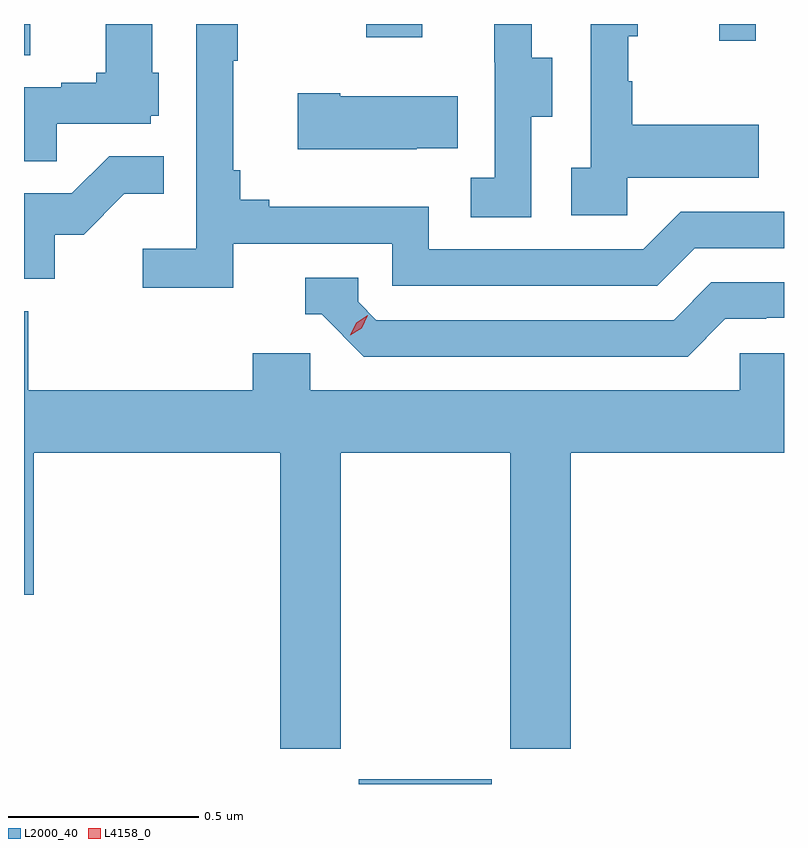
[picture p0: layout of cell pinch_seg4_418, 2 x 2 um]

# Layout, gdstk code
import gdstk
lib = gdstk.Library(unit=1e-6, precision=1e-09)
def R(c, l, rs):  # rectangles x0, y0, x1, y1
    for r in rs: c.add(gdstk.rectangle(r[:2], r[2:], *l))
def P(c, l, *ps):  # polygons
    for p in ps: c.add(gdstk.Polygon(p, *l))
L2000_40 = (2000, 40)
L4158_0 = (4158, 0)

pinch_seg4_418 = lib.new_cell('pinch_seg4_418')
R(pinch_seg4_418, L2000_40, [(969.224,774.636,969.574,774.649), (968.343,776.554,968.359,776.636), (970.172,776.592,970.269,776.636), (969.244,776.601,969.391,776.636)])
P(pinch_seg4_418, L2000_40, [(969.678,776.392),(969.733,776.392),(969.733,776.547),(969.679,776.547),(969.679,776.636),(969.581,776.636),(969.581,776.535),(969.582,776.535),(969.582,776.231),(969.519,776.231),(969.519,776.128),(969.678,776.128)],
  [(968.894,776.058),(969.312,776.058),(969.312,775.947),(970.009,775.947),(970.108,776.046),(970.343,776.046),(970.343,776.142),(970.071,776.142),(969.972,776.043),(969.408,776.043),(969.408,776.155),(968.989,776.155),(968.989,776.174),(968.912,776.174),(968.912,776.251),(968.893,776.251),(968.893,776.539),(968.905,776.539),(968.905,776.636),(968.796,776.636),(968.796,776.044),(968.655,776.044),(968.655,775.942),(968.894,775.942)],
  [(969.93,776.231),(970.277,776.231),(970.277,776.371),(969.943,776.371),(969.943,776.486),(969.933,776.486),(969.933,776.604),(969.958,776.604),(969.958,776.636),(969.834,776.636),(969.834,776.258),(969.783,776.258),(969.783,776.133),(969.93,776.133)],
  [(968.429,776.373),(968.676,776.373),(968.676,776.394),(968.698,776.394),(968.698,776.508),(968.68,776.508),(968.68,776.636),(968.558,776.636),(968.558,776.508),(968.533,776.508),(968.533,776.482),(968.441,776.482),(968.441,776.469),(968.343,776.469),(968.343,776.275),(968.429,776.275)],
  [(969.377,776.309),(969.485,776.309),(969.485,776.446),(969.175,776.446),(969.175,776.454),(969.063,776.454),(969.063,776.306),(969.377,776.306)],
  [(968.424,776.082),(968.5,776.082),(968.607,776.189),(968.711,776.189),(968.711,776.288),(968.567,776.288),(968.469,776.19),(968.343,776.19),(968.343,775.965),(968.424,775.965)],
  [(970.189,775.86),(970.296,775.86),(970.296,775.863),(970.343,775.863),(970.343,775.956),(970.152,775.956),(970.053,775.857),(969.27,775.857),(969.222,775.905),(969.222,775.968),(969.083,775.968),(969.083,775.872),(969.126,775.872),(969.237,775.761),(970.09,775.761)],
  [(969.177,775.508),(969.622,775.508),(969.622,774.729),(969.782,774.729),(969.782,775.508),(970.343,775.508),(970.343,775.77),(970.227,775.77),(970.227,775.672),(969.096,775.672),(969.096,775.77),(968.945,775.77),(968.945,775.672),(968.354,775.672),(968.354,775.88),(968.343,775.88),(968.343,775.134),(968.368,775.134),(968.368,775.508),(969.017,775.508),(969.017,774.729),(969.177,774.729)])
P(pinch_seg4_418, L4158_0, [(969.201,775.817),(969.201,775.817),(969.217,775.85),(969.248,775.869),(969.248,775.869),(969.248,775.869),(969.232,775.836),(969.201,775.817)])

lib.write_gds('pinch_seg4_418.gds')
